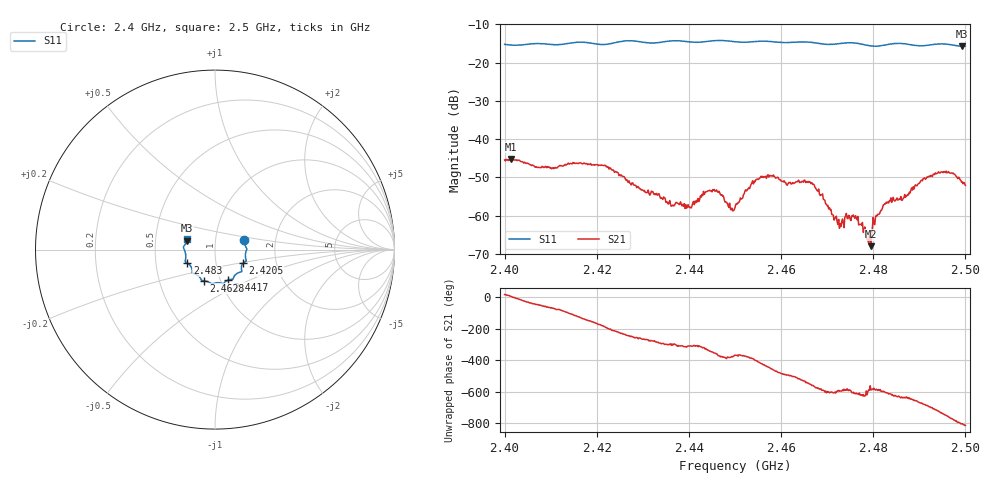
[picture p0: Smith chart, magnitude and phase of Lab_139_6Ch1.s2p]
# Hz S RI R 50
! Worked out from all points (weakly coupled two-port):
!   601 points, 2.4 GHz to 2.5 GHz, reference 50 ohm
!   highest |S21| = -45.19 dB at 2.4013 GHz (marker M1); lowest = -68.0 dB at 2.4795 GHz (marker M2)
!   lowest |S11| = -15.7 dB at 2.4993 GHz (marker M3), VSWR 1.39, Z = 36.3 + j3.66 ohm
!   |S11| at or under -10 dB: start of sweep to end of sweep
!   S12 and S22 are empty: the file has one direction only
!   S11 on the Smith chart (normalised r, x): 2.4 GHz: 1.38, +0.16; 2.4205 GHz: 1.35, -0.21; 2.4417 GHz: 1.08, -0.38; 2.4628 GHz: 0.83, -0.30; 2.483 GHz: 0.73, -0.11; 2.5 GHz: 0.73, +0.09
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2.4e9  0.1638 0.0559  0.00513 0.0015  0 0  0 0
2.401333e9  0.1643 0.0431  0.00548 0.000516  0 0  0 0
2.416667e9  0.174 -0.0634  -0.00325 -0.00356  0 0  0 0
2.4205e9  0.1553 -0.0768  -0.00453 -0.000493  0 0  0 0
2.433333e9  0.1073 -0.1476  0.00051 0.00181  0 0  0 0
2.4365e9  0.101 -0.1644  0.000778 0.00113  0 0  0 0
2.441667e9  0.0718 -0.1697  0.000966 0.00125  0 0  0 0
2.445667e9  0.0484 -0.1879  0.00206 0.00019  0 0  0 0
2.45e9  0.0288 -0.1853  0.00126 -0.000158  0 0  0 0
2.4555e9  -0.0126 -0.19  0.00166 -0.00264  0 0  0 0
2.462833e9  -0.0627 -0.1733  -0.00215 -0.00156  0 0  0 0
2.466667e9  -0.0773 -0.1666  -0.00254 0.000914  0 0  0 0
2.472667e9  -0.1156 -0.1341  -0.00038 0.000568  0 0  0 0
2.475833e9  -0.1272 -0.1289  -0.000327 0.000911  0 0  0 0
2.479e9  -0.1285 -0.1066  -0.000287 0.000331  0 0  0 0
2.4795e9  -0.1301 -0.1017  -0.000266 0.000296  0 0  0 0
2.4805e9  -0.1354 -0.0922  -0.000632 0.000718  0 0  0 0
2.483e9  -0.1543 -0.0752  -0.000591 0.00134  0 0  0 0
2.483333e9  -0.1566 -0.0738  -0.000418 0.0014  0 0  0 0
2.493667e9  -0.1743 0.00712  0.0035 0.000344  0 0  0 0
2.499333e9  -0.156 0.049  0.000387 -0.00272  0 0  0 0
2.5e9  -0.1538 0.0575  -9.22e-05 -0.00248  0 0  0 0
